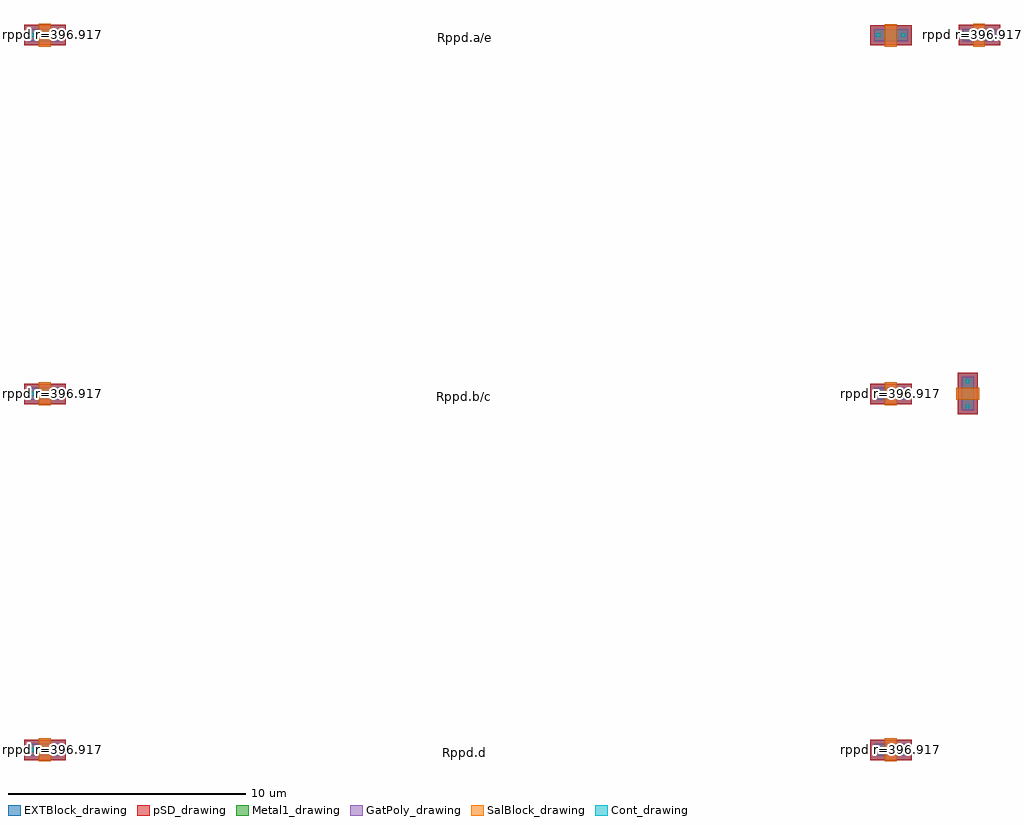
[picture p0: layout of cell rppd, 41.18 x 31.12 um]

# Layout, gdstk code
import gdstk
lib = gdstk.Library(unit=1e-6, precision=1e-09)
def R(c, l, rs):  # rectangles x0, y0, x1, y1
    for r in rs: c.add(gdstk.rectangle(r[:2], r[2:], *l))
GatPoly_drawing = (5, 0)
Cont_drawing = (6, 0)
Metal1_drawing = (8, 0)
pSD_drawing = (14, 0)
SalBlock_drawing = (28, 0)
EXTBlock_drawing = (111, 0)

rppd = lib.new_cell('rppd')
R(rppd, GatPoly_drawing, [(-18.39,-37.63,-16.99,-37.13), (17.31,-37.63,18.71,-37.13), (21,-23.05,21.5,-21.645), (-18.39,-22.61,-16.99,-22.11), (17.31,-22.61,18.7,-22.11), (-18.39,-7.475,-16.99,-6.975), (17.31,-7.475,18.71,-6.985), (21.04,-7.475,22.43,-6.975)])
R(rppd, Cont_drawing, [(-18.31,-37.45,-18.15,-37.29), (-17.25,-37.45,-17.09,-37.29), (17.39,-37.45,17.55,-37.29), (18.45,-37.45,18.61,-37.29), (21.16,-22.97,21.32,-22.81), (-18.31,-22.43,-18.15,-22.27), (-17.25,-22.43,-17.09,-22.27), (17.39,-22.43,17.55,-22.27), (18.44,-22.43,18.6,-22.27), (21.16,-21.905,21.32,-21.745), (-18.31,-7.295,-18.15,-7.135), (-17.25,-7.295,-17.09,-7.135), (17.39,-7.295,17.55,-7.135), (18.45,-7.295,18.61,-7.135), (21.12,-7.295,21.28,-7.135), (22.17,-7.295,22.33,-7.135)])
R(rppd, Metal1_drawing, [(-18.39,-37.63,-16.99,-37.13), (17.31,-37.63,18.71,-37.13), (21,-23.05,21.5,-21.645), (-18.39,-22.61,-16.99,-22.11), (17.31,-22.61,18.7,-22.11), (-18.39,-7.475,-16.99,-6.975), (17.31,-7.475,18.71,-6.985), (21.04,-7.475,22.43,-6.975)])
R(rppd, pSD_drawing, [(-18.57,-37.81,-16.81,-36.95), (17.13,-37.81,18.89,-36.95), (20.83,-23.215,21.68,-21.465), (-18.57,-22.79,-16.81,-21.93), (17.145,-22.79,18.88,-21.94), (-18.57,-7.655,-16.81,-6.795), (17.13,-7.655,18.89,-6.805), (20.86,-7.655,22.61,-6.795)])
R(rppd, SalBlock_drawing, [(-17.95,-37.86,-17.45,-36.9), (17.75,-37.86,18.25,-36.9), (-17.95,-22.84,-17.45,-21.88), (17.75,-22.84,18.25,-21.88), (20.77,-22.61,21.73,-22.11), (-17.95,-7.705,-17.45,-6.745), (17.75,-7.705,18.25,-6.755), (21.48,-7.705,21.97,-6.745)])
R(rppd, EXTBlock_drawing, [(-18.57,-37.81,-16.81,-36.95), (17.13,-37.81,18.87,-36.96), (20.82,-23.23,21.68,-21.465), (-18.57,-22.79,-16.81,-21.93), (17.13,-22.79,18.88,-21.93), (-18.57,-7.655,-16.81,-6.795), (17.13,-7.655,18.89,-6.805), (20.86,-7.655,22.61,-6.795)])
rppd.add(gdstk.Label('rppd r=396.917', (21.8,-7.2), layer=63, texttype=0))
rppd.add(gdstk.Label('rppd r=396.917', (18.08,-7.2), layer=63, texttype=0))
rppd.add(gdstk.Label('rppd r=396.917', (-17.72,-7.2), layer=63, texttype=0))
rppd.add(gdstk.Label('rppd r=396.917', (-17.72,-22.345), layer=63, texttype=0))
rppd.add(gdstk.Label('rppd r=396.917', (-17.72,-37.35), layer=63, texttype=0))
rppd.add(gdstk.Label('rppd r=396.917', (17.98,-37.35), layer=63, texttype=0))
rppd.add(gdstk.Label('rppd r=396.917', (17.98,-22.345), layer=63, texttype=0))
rppd.add(gdstk.Label('rppd r=396.917', (21.225,-22.362), layer=63, texttype=0))
rppd.add(gdstk.Label('Rppd.a/e', (0,-7.335), layer=63, texttype=0))
rppd.add(gdstk.Label('Rppd.b/c', (0,-22.47), layer=63, texttype=0))
rppd.add(gdstk.Label('Rppd.d', (0,-37.49), layer=63, texttype=0))
rppd.add(gdstk.Label('PASS', (-12,5), layer=63, texttype=0))
rppd.add(gdstk.Label('FAIL', (12,5), layer=63, texttype=0))
rppd.add(gdstk.Label('6.3 Rppd', (0,21), layer=63, texttype=0))

lib.write_gds('rppd.gds')
